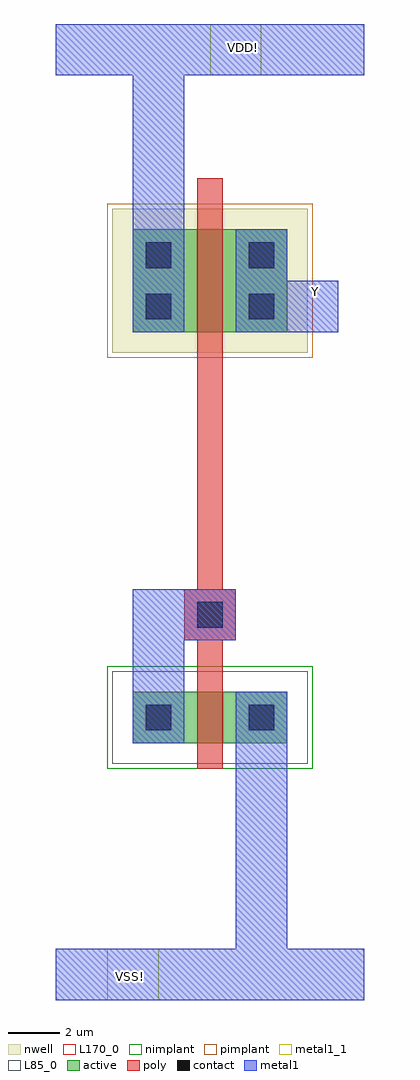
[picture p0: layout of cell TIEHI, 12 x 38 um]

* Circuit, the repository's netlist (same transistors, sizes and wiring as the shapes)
* +++++++++++++++++++++++++++++++++++++++++++++++++++++++++ *
* CDL Netlist:                                              *
*                                                           *
* Cell Name  : TIEHI                                        *
* Netlisted  : Fri Dec 17 10:11:11 2021                     *
* PVS Version: 16.15-s010 Fri Jun 28 22:24:07 PDT 2019      *
* +++++++++++++++++++++++++++++++++++++++++++++++++++++++++ *
*.LDD
*.DEVTMPLT 0 MN(nmos3) _nmos1v _soi_nd(D) poly_conn(G) _soi_nsb(S) _soi_nsb(B)
*.DEVTMPLT 1 MP(pmos3) _pmos1v _soi_pd(D) poly_conn(G) _soi_psb(S) _soi_psb(B)

* +++++++++++++++++++++++++++++++++++++++++++++++++++++++++ *
* Sub cell: nmos3_CDNS_2                                    *
* +++++++++++++++++++++++++++++++++++++++++++++++++++++++++ *
.subckt nmos3_CDNS_2 2 3
** N=3 EP=2 FDC=1
M0 3 3 2 2 nmos3 L=1e-06 W=2e-06 AD=5e-12 AS=0 PD=9e-06 PS=0 fw=2e-06 sa=2e-06 sb=2e-06 $X=7000 $Y=2000 $dt=0
.ends nmos3_CDNS_2

* +++++++++++++++++++++++++++++++++++++++++++++++++++++++++ *
* Sub cell: pmos3_CDNS_3                                    *
* +++++++++++++++++++++++++++++++++++++++++++++++++++++++++ *
.subckt pmos3_CDNS_3 2 3 4
** N=5 EP=3 FDC=1
M0 3 4 2 2 pmos3 L=1e-06 W=4e-06 AD=1e-11 AS=0 PD=1.3e-05 PS=0 fw=4e-06 sa=2e-06 sb=2e-06 $X=7000 $Y=2000 $dt=1
.ends pmos3_CDNS_3

* +++++++++++++++++++++++++++++++++++++++++++++++++++++++++ *
* Sub cell: TIEHI                                           *
* +++++++++++++++++++++++++++++++++++++++++++++++++++++++++ *
.subckt TIEHI VDD! VSS! Y
** N=5 EP=3 FDC=2
X0 VSS! 3 nmos3_CDNS_2 $T=4000 16000 0 0 $X=4000 $Y=16000
X1 VDD! Y 3 pmos3_CDNS_3 $T=20000 48000 1 180 $X=4000 $Y=48000
.ends TIEHI

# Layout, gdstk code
from math import pi, radians
import gdstk
lib = gdstk.Library(unit=1e-6, precision=5e-10)
def R(c, l, rs):  # rectangles x0, y0, x1, y1
    for r in rs: c.add(gdstk.rectangle(r[:2], r[2:], *l))
active = (1, 0)
nwell = (2, 0)
poly = (3, 0)
nimplant = (4, 0)
pimplant = (5, 0)
contact = (6, 0)
metal1 = (7, 0)
metal1_1 = (7, 1)
L85_0 = (85, 0)
L170_0 = (170, 0)

nmos3_cdns_2 = lib.new_cell('nmos3_CDNS_2')
R(nmos3_cdns_2, active, [(1,1,7,3)])
R(nmos3_cdns_2, poly, [(3.5,0,4.5,5), (3.6,3.5,4.4,3.9)])
R(nmos3_cdns_2, nimplant, [(0,0,8,4)])
R(nmos3_cdns_2, contact, [(1.5,1.5,2.5,2.5), (5.5,1.5,6.5,2.5), (5.5,1.5,6.5,2.5)])
R(nmos3_cdns_2, metal1, [(1,1,3,3), (5,1,7,3), (1.3,1.3,2.7,2.7), (5.3,1.3,6.7,2.7)])
R(nmos3_cdns_2, L85_0, [(0.2,0.2,7.8,3.8)])
R(nmos3_cdns_2, L170_0, [(4.5,1,7,3)])

pmos3_cdns_3 = lib.new_cell('pmos3_CDNS_3')
R(pmos3_cdns_3, active, [(1,1,7,5)])
R(pmos3_cdns_3, nwell, [(0.2,0.2,7.8,5.8)])
R(pmos3_cdns_3, poly, [(3.5,0,4.5,7), (3.6,5.6,4.4,5.9)])
R(pmos3_cdns_3, pimplant, [(0,0,8,6)])
R(pmos3_cdns_3, contact, [(1.5,1.5,2.5,2.5), (5.5,1.5,6.5,2.5), (5.5,1.5,6.5,2.5), (1.5,3.5,2.5,4.5), (5.5,3.5,6.5,4.5)])
R(pmos3_cdns_3, metal1, [(1,1,3,5), (5,1,7,5), (1.3,1.3,2.7,2.7), (5.3,1.3,6.7,2.7)])
R(pmos3_cdns_3, L170_0, [(4.5,1,7,5)])

m1_po_cdns_1 = lib.new_cell('M1_PO_CDNS_1')
R(m1_po_cdns_1, poly, [(-1,-1,1,1)])
R(m1_po_cdns_1, contact, [(-0.5,-0.5,0.5,0.5)])
R(m1_po_cdns_1, metal1, [(-1,-1,1,1)])

tiehi = lib.new_cell('TIEHI')
R(tiehi, metal1, [(7,25,11,27)])
R(tiehi, metal1_1, [(2,-1,4,1), (9,25,11,27), (6,35,8,37)])
tiehi.add(gdstk.FlexPath([(6,11),(6,29.9)], 1, ends="flush", simple_path=True, layer=3, datatype=0))  # poly
tiehi.add(gdstk.FlexPath([(0,36),(4,36)], 2, ends=(0, 1), simple_path=True, layer=7, datatype=0))  # metal1
tiehi.add(gdstk.FlexPath([(4,25.3),(4,36)], 2, ends=(0, 1), simple_path=True, layer=7, datatype=0))  # metal1
tiehi.add(gdstk.FlexPath([(0,0),(8,0)], 2, ends=(0, 1), simple_path=True, layer=7, datatype=0))  # metal1
tiehi.add(gdstk.FlexPath([(8,10.7),(8,0)], 2, ends=(0, 1), simple_path=True, layer=7, datatype=0))  # metal1
tiehi.add(gdstk.FlexPath([(4,14),(6,14)], 2, ends=(1, 0), simple_path=True, layer=7, datatype=0))  # metal1
tiehi.add(gdstk.FlexPath([(4,9.3),(4,14)], 2, ends=(0, 1), simple_path=True, layer=7, datatype=0))  # metal1
tiehi.add(gdstk.FlexPath([(8,0),(12,0)], 2, ends=(1, 0), simple_path=True, layer=7, datatype=0))  # metal1
tiehi.add(gdstk.FlexPath([(4,36),(12,36)], 2, ends=(1, 0), simple_path=True, layer=7, datatype=0))  # metal1
tiehi.add(gdstk.Reference(nmos3_cdns_2, (2,8)))
tiehi.add(gdstk.Reference(pmos3_cdns_3, (10,24), rotation=pi, x_reflection=True))
tiehi.add(gdstk.Reference(m1_po_cdns_1, (6,14)))
tiehi.add(gdstk.Label('Y', (10.1,26.6), layer=7, texttype=3))
tiehi.add(gdstk.Label('VSS!', (2.9,-0.1), layer=7, texttype=3))
tiehi.add(gdstk.Label('VDD!', (7.3,36.1), layer=7, texttype=3))

lib.write_gds('TIEHI.gds')
